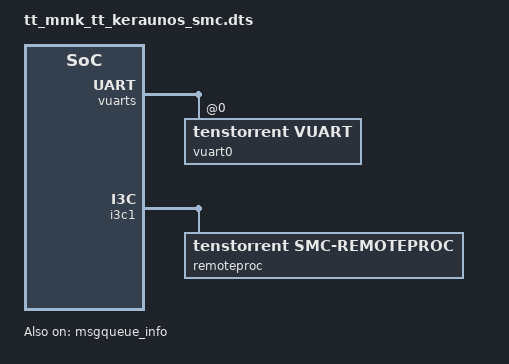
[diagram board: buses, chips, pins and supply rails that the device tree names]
/*
 * Copyright (c) 2026 Tenstorrent AI ULC
 *
 * SPDX-License-Identifier: Apache-2.0
 */

/dts-v1/;

#include <zephyr/dt-bindings/gpio/gpio.h>
#include <tenstorrent/tt_grendel_smc.dtsi>

/ {
	vuarts {
		#address-cells = <1>;
		#size-cells = <0>;

		vuart0: uart_tt_virt@0 {
			compatible = "tenstorrent,vuart";
			version = <0x00000000>;
			reg = <0x0>;
			status = "okay";
		};
	};

	chosen {
		zephyr,sram = &ram0;
		zephyr,console = &vuart0;
		zephyr,shell-uart = &vuart0;
	};

	msgqueue_mbox: msgqueue_mbox {
		compatible = "tenstorrent,msgqueue-mbox";
		mboxes = <&mbox0 1>;
		mbox-names = "doorbell";
		status = "okay";
	};
};

&i3c1 {
	status = "okay";
	input-clock-frequency = <200000000>;
	i3c-scl-hz = <1000000>;
	i2c-scl-hz = <400000>;

	remoteproc: remoteproc@0a7c0013f001 {
		compatible = "tenstorrent,smc-remoteproc";
		/* No static address, PID of 0x0a7c0013f001 */
		reg = <0x0 0x0a7c 0x0013f001>;
	};
};

&{/soc} {
	/* Cold Scratch 3 */
	msgqueue_info: scratch-reg@c000280c {
		compatible = "tenstorrent,scratch-reg";
		reg = <0x0 0xc000280c 0x0 0x4>;
		status = "okay";
	};

	sep_safe_off: scratch-reg@c0010168 {
		/* SCRATCH[13], SEP-safe SRAM offset in [13:0] */
		compatible = "tenstorrent,scratch-reg";
		reg = <0x0 0xc0010168 0x0 0x4>;
	};

	sep_safe_size: scratch-reg@c0010170 {
		/* SCRATCH[14], SEP-safe SRAM size */
		compatible = "tenstorrent,scratch-reg";
		reg = <0x0 0xc0010170 0x0 0x4>;
	};
};
